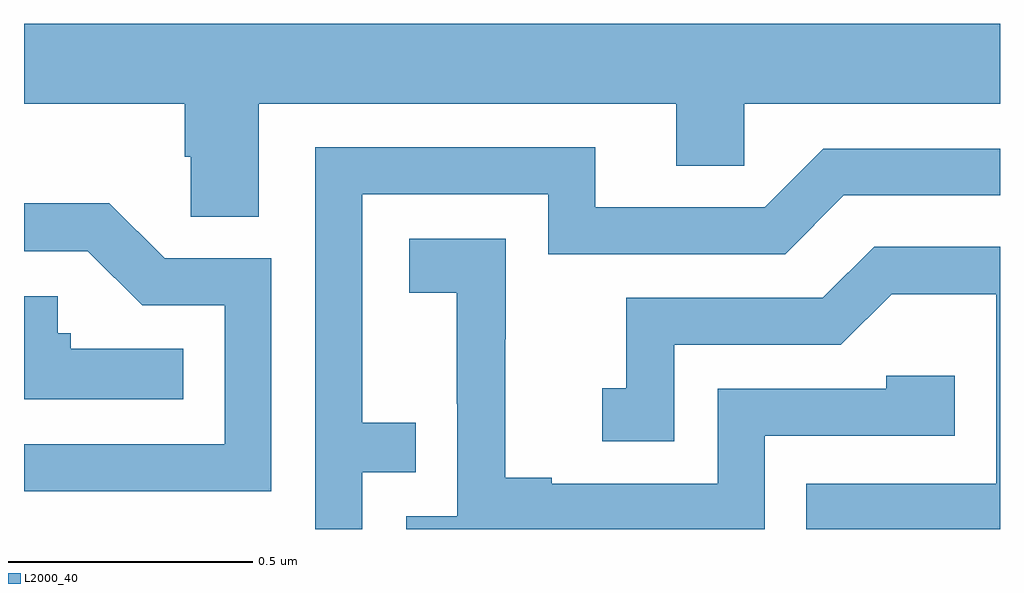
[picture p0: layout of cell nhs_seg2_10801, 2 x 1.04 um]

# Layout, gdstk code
import gdstk
lib = gdstk.Library(unit=1e-6, precision=1e-09)
def P(c, l, *ps):  # polygons
    for p in ps: c.add(gdstk.Polygon(p, *l))
L2000_40 = (2000, 40)

nhs_seg2_10801 = lib.new_cell('nhs_seg2_10801')
P(nhs_seg2_10801, L2000_40, [(246.481,611.672),(247.337,611.672),(247.337,611.545),(247.476,611.545),(247.476,611.672),(248,611.672),(248,611.836),(246,611.836),(246,611.672),(246.329,611.672),(246.329,611.563),(246.342,611.563),(246.342,611.44),(246.481,611.44)],
  [(246.693,610.917),(246.803,610.917),(246.803,611.018),(246.693,611.018),(246.693,611.487),(247.074,611.487),(247.074,611.364),(247.56,611.364),(247.68,611.484),(248,611.484),(248,611.58),(247.638,611.58),(247.518,611.46),(247.171,611.46),(247.171,611.583),(246.597,611.583),(246.597,610.8),(246.693,610.8)],
  [(246.507,611.355),(246.288,611.355),(246.175,611.468),(246,611.468),(246,611.37),(246.131,611.37),(246.242,611.259),(246.411,611.259),(246.411,610.974),(246,610.974),(246,610.878),(246.507,610.878)],
  [(247.518,610.992),(247.907,610.992),(247.907,611.115),(247.767,611.115),(247.767,611.088),(247.422,611.088),(247.422,610.893),(247.081,610.893),(247.081,610.906),(246.986,610.906),(246.986,611.189),(246.987,611.189),(246.987,611.395),(246.789,611.395),(246.789,611.285),(246.887,611.285),(246.887,611.057),(246.888,611.057),(246.888,610.827),(246.783,610.827),(246.783,610.8),(247.518,610.8)],
  [(248,611.379),(247.742,611.379),(247.637,611.274),(247.234,611.274),(247.234,611.089),(247.185,611.089),(247.185,610.98),(247.332,610.98),(247.332,611.178),(247.674,611.178),(247.778,611.282),(247.992,611.282),(247.992,610.893),(247.603,610.893),(247.603,610.8),(248,610.8)],
  [(246.326,611.17),(246.096,611.17),(246.096,611.202),(246.069,611.202),(246.069,611.278),(246,611.278),(246,611.066),(246.326,611.066)])

lib.write_gds('nhs_seg2_10801.gds')
